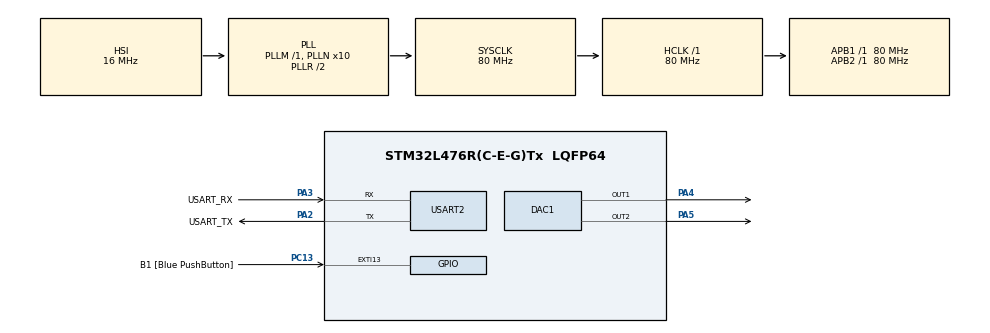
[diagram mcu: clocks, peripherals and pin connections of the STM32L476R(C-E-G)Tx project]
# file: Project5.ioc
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DAC1.DAC_Channel-DAC_OUT2=DAC_CHANNEL_2
DAC1.DAC_Trigger-DAC_OUT1=DAC_TRIGGER_T2_TRGO
DAC1.DAC_Trigger-DAC_OUT2=DAC_TRIGGER_T4_TRGO
Dma.DAC_CH1.0.Direction=DMA_MEMORY_TO_PERIPH
Dma.DAC_CH1.0.Instance=DMA1_Channel3
Dma.DAC_CH1.0.MemDataAlignment=DMA_MDATAALIGN_WORD
Dma.DAC_CH1.0.MemInc=DMA_MINC_ENABLE
Dma.DAC_CH1.0.Mode=DMA_CIRCULAR
Dma.DAC_CH1.0.PeriphDataAlignment=DMA_PDATAALIGN_WORD
Dma.DAC_CH1.0.PeriphInc=DMA_PINC_DISABLE
Dma.DAC_CH1.0.Priority=DMA_PRIORITY_LOW
Dma.DAC_CH2.2.Direction=DMA_MEMORY_TO_PERIPH
Dma.DAC_CH2.2.Instance=DMA1_Channel4
Dma.DAC_CH2.2.MemDataAlignment=DMA_MDATAALIGN_WORD
Dma.DAC_CH2.2.MemInc=DMA_MINC_ENABLE
Dma.DAC_CH2.2.Mode=DMA_CIRCULAR
Dma.DAC_CH2.2.PeriphDataAlignment=DMA_PDATAALIGN_WORD
Dma.DAC_CH2.2.PeriphInc=DMA_PINC_DISABLE
Dma.DAC_CH2.2.Priority=DMA_PRIORITY_LOW
Dma.Request0=DAC_CH1
Dma.Request1=USART2_RX
Dma.Request2=DAC_CH2
Dma.USART2_RX.1.Direction=DMA_PERIPH_TO_MEMORY
Dma.USART2_RX.1.Instance=DMA1_Channel6
Dma.USART2_RX.1.MemDataAlignment=DMA_MDATAALIGN_BYTE
Dma.USART2_RX.1.MemInc=DMA_MINC_ENABLE
Dma.USART2_RX.1.Mode=DMA_CIRCULAR
Dma.USART2_RX.1.PeriphDataAlignment=DMA_PDATAALIGN_BYTE
Dma.USART2_RX.1.PeriphInc=DMA_PINC_DISABLE
Dma.USART2_RX.1.Priority=DMA_PRIORITY_HIGH
FREERTOS.INCLUDE_vTaskDelayUntil=1
FREERTOS.Tasks01=defaultTask,0,128,StartDefaultTask,Default,NULL,Dynamic,NULL,NULL
FREERTOS.configTOTAL_HEAP_SIZE=50000
FREERTOS.configUSE_NEWLIB_REENTRANT=1
Mcu.Family=STM32L4
Mcu.Name=STM32L476R(C-E-G)Tx
Mcu.Package=LQFP64
NVIC.DMA1_Channel3_IRQn=true\:5\:0\:false\:false\:true\:true\:false\:true\:true
NVIC.DMA1_Channel4_IRQn=true\:5\:0\:false\:false\:true\:true\:false\:true\:true
NVIC.DMA1_Channel6_IRQn=true\:5\:0\:false\:false\:true\:true\:false\:true\:true
NVIC.PriorityGroup=NVIC_PRIORITYGROUP_4
NVIC.TIM1_UP_TIM16_IRQn=true\:15\:0\:false\:false\:true\:false\:false\:true\:true
NVIC.TIM2_IRQn=true\:5\:0\:false\:false\:true\:true\:true\:true\:true
NVIC.TIM4_IRQn=true\:5\:0\:false\:false\:true\:true\:true\:true\:true
NVIC.TimeBase=TIM1_UP_TIM16_IRQn
NVIC.TimeBaseIP=TIM1
NVIC.USART2_IRQn=true\:5\:0\:false\:false\:true\:true\:true\:true\:true
PA13\ (JTMS-SWDIO).GPIO_Label=TMS
PA13\ (JTMS-SWDIO).Mode=Serial_Wire
PA13\ (JTMS-SWDIO).Signal=SYS_JTMS-SWDIO
PA14\ (JTCK-SWCLK).GPIO_Label=TCK
PA14\ (JTCK-SWCLK).Mode=Serial_Wire
PA14\ (JTCK-SWCLK).Signal=SYS_JTCK-SWCLK
PA2.GPIO_Label=USART_TX
PA2.GPIO_Mode=GPIO_MODE_AF_PP
PA2.GPIO_PuPd=GPIO_NOPULL
PA2.GPIO_Speed=GPIO_SPEED_FREQ_VERY_HIGH
PA2.Mode=Asynchronous
PA2.Signal=USART2_TX
PA3.GPIO_Label=USART_RX
PA3.GPIO_Mode=GPIO_MODE_AF_PP
PA3.GPIO_PuPd=GPIO_NOPULL
PA3.GPIO_Speed=GPIO_SPEED_FREQ_VERY_HIGH
PA3.Mode=Asynchronous
PA3.Signal=USART2_RX
PA4.Signal=COMP_DAC11_group
PA5.Signal=COMP_DAC12_group
PB3\ (JTDO-TRACESWO).GPIO_Label=SWO
PB3\ (JTDO-TRACESWO).Signal=SYS_JTDO-SWO
PC13.GPIO_Label=B1 [Blue PushButton]
PC13.GPIO_ModeDefaultEXTI=GPIO_MODE_IT_FALLING
PC13.GPIO_PuPd=GPIO_NOPULL
PC13.Signal=GPXTI13
PC14-OSC32_IN\ (PC14).Mode=LSE-External-Oscillator
PC14-OSC32_IN\ (PC14).Signal=RCC_OSC32_IN
PC15-OSC32_OUT\ (PC15).Mode=LSE-External-Oscillator
PC15-OSC32_OUT\ (PC15).Signal=RCC_OSC32_OUT
PH0-OSC_IN\ (PH0).Signal=RCC_OSC_IN
PH1-OSC_OUT\ (PH1).Signal=RCC_OSC_OUT
ProjectManager.HeapSize=0x200
ProjectManager.StackSize=0x400
ProjectManager.TargetToolchain=STM32CubeIDE
RCC.ADCFreq_Value=64000000
RCC.AHBFreq_Value=80000000
RCC.APB1Freq_Value=80000000
RCC.APB1TimFreq_Value=80000000
RCC.APB2Freq_Value=80000000
RCC.APB2TimFreq_Value=80000000
RCC.CortexFreq_Value=80000000
RCC.HCLKFreq_Value=80000000
RCC.HSE_VALUE=8000000
RCC.HSI_VALUE=16000000
RCC.MSI_VALUE=4000000
RCC.PLLN=10
RCC.PLLSAI1Q=RCC_PLLQ_DIV4
RCC.PLLSourceVirtual=RCC_PLLSOURCE_HSI
RCC.PREFETCH_ENABLE=1
RCC.SYSCLKFreq_VALUE=80000000
RCC.SYSCLKSource=RCC_SYSCLKSOURCE_PLLCLK
RCC.USBFreq_Value=32000000
RCC.VCOOutputFreq_Value=160000000
SH.COMP_DAC11_group.0=DAC1_OUT1,DAC_OUT1
SH.COMP_DAC12_group.0=DAC1_OUT2,DAC_OUT2
TIM2.AutoReloadPreload=TIM_AUTORELOAD_PRELOAD_ENABLE
TIM2.Period=1000-1
TIM2.Prescaler=10-1
TIM2.TIM_MasterOutputTrigger=TIM_TRGO_UPDATE
TIM4.AutoReloadPreload=TIM_AUTORELOAD_PRELOAD_ENABLE
TIM4.Period=1000-1
TIM4.Prescaler=10-1
TIM4.TIM_MasterOutputTrigger=TIM_TRGO_UPDATE
USART2.VirtualMode-Asynchronous=VM_ASYNC
VP_FREERTOS_VS_CMSIS_V1.Mode=CMSIS_V1
VP_RNG_VS_RNG.Mode=RNG_Activate
VP_SYS_VS_tim1.Mode=TIM1
VP_TIM2_VS_ClockSourceINT.Mode=Internal
VP_TIM4_VS_ClockSourceINT.Mode=Internal
board=NUCLEO-L476RG

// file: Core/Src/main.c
/* USER CODE BEGIN Header */
/**
  ******************************************************************************
  * @file           : main.c
  * @brief          : Main program body
  ******************************************************************************
  * @attention
  *
  * Copyright (c) 2022 STMicroelectronics.
  * All rights reserved.
  *
  * This software is licensed under terms that can be found in the LICENSE file
  * in the root directory of this software component.
  * If no LICENSE file comes with this software, it is provided AS-IS.
  *
  ******************************************************************************
  */
/* USER CODE END Header */
#include "main.h"
//#include "cmsis_os.h"

/* USER CODE BEGIN Includes */
#include <stdio.h>
#include <stdlib.h>
#include "FreeRTOS.h"
#include "task.h"
#include "timers.h"
#include "queue.h"
#include "semphr.h"
#include "event_groups.h"
#include "string.h"
#include "math.h"

#include "signal.h"
#include "uart.h"

/* USER CODE END Includes */

DAC_HandleTypeDef hdac1;
DMA_HandleTypeDef hdma_dac_ch1;
DMA_HandleTypeDef hdma_dac_ch2;

RNG_HandleTypeDef hrng;

TIM_HandleTypeDef htim2;
TIM_HandleTypeDef htim4;

UART_HandleTypeDef huart2;
DMA_HandleTypeDef hdma_usart2_rx;
/* USER CODE BEGIN PV */
TaskHandle_t mngr;
TaskHandle_t rdr;

QueueHandle_t msgQ;

extern uint32_t sig1_ROM[];
extern uint32_t sig2_ROM[];
extern _Bool cmd_flg;
int in_flg = 0;
/* USER CODE END PV */

void SystemClock_Config(void);
static void MX_GPIO_Init(void);
static void MX_DMA_Init(void);
static void MX_USART2_UART_Init(void);
static void MX_DAC1_Init(void);
static void MX_TIM2_Init(void);
static void MX_TIM4_Init(void);
static void MX_RNG_Init(void);

/* USER CODE BEGIN PFP */
void mng_Task(void * pvParameters);
void read_Task(void * pvParameters);
/* USER CODE END PFP */

int main(void)
{

  /* MCU Configuration--------------------------------------------------------*/

  /* Reset of all peripherals, Initializes the Flash interface and the Systick. */
  HAL_Init();

  /* Configure the system clock */
  SystemClock_Config();

  /* Initialize all configured peripherals */
  MX_GPIO_Init();
  MX_DMA_Init();
  MX_USART2_UART_Init();
  MX_DAC1_Init();
  MX_TIM2_Init();
  MX_TIM4_Init();
  MX_RNG_Init();

  /* USER CODE BEGIN RTOS_QUEUES */
  msgQ = xQueueCreate(1, sizeof(sig_t));
  if(msgQ == 0)
    {
  	  printf("Unable to create msg queue\n\r");
  	  exit(1);
    }
  /* USER CODE END RTOS_QUEUES */

  /* USER CODE BEGIN RTOS_THREADS */
  xTaskCreate(mng_Task, "mngr", 1024, NULL, PriorityHigh, &mngr);
  /* USER CODE END RTOS_THREADS */

  /* We should never get here as control is now taken by the scheduler */
  /* Infinite loop */
  /* USER CODE BEGIN WHILE */

  vTaskStartScheduler();
  while (1)
  {
    /* USER CODE END WHILE */

  }
}

void SystemClock_Config(void)
{
  RCC_OscInitTypeDef RCC_OscInitStruct = {0};
  RCC_ClkInitTypeDef RCC_ClkInitStruct = {0};

  /** Configure the main internal regulator output voltage
  */
  if (HAL_PWREx_ControlVoltageScaling(PWR_REGULATOR_VOLTAGE_SCALE1) != HAL_OK)
  {
    Error_Handler();
  }

  /** Initializes the RCC Oscillators according to the specified parameters
  * in the RCC_OscInitTypeDef structure.
  */
  RCC_OscInitStruct.OscillatorType = RCC_OSCILLATORTYPE_HSI;
  RCC_OscInitStruct.HSIState = RCC_HSI_ON;
  RCC_OscInitStruct.HSICalibrationValue = RCC_HSICALIBRATION_DEFAULT;
  RCC_OscInitStruct.PLL.PLLState = RCC_PLL_ON;
  RCC_OscInitStruct.PLL.PLLSource = RCC_PLLSOURCE_HSI;
  RCC_OscInitStruct.PLL.PLLM = 1;
  RCC_OscInitStruct.PLL.PLLN = 10;
  RCC_OscInitStruct.PLL.PLLP = RCC_PLLP_DIV7;
  RCC_OscInitStruct.PLL.PLLQ = RCC_PLLQ_DIV2;
  RCC_OscInitStruct.PLL.PLLR = RCC_PLLR_DIV2;
  if (HAL_RCC_OscConfig(&RCC_OscInitStruct) != HAL_OK)
  {
    Error_Handler();
  }

  /** Initializes the CPU, AHB and APB buses clocks
  */
  RCC_ClkInitStruct.ClockType = RCC_CLOCKTYPE_HCLK|RCC_CLOCKTYPE_SYSCLK
                              |RCC_CLOCKTYPE_PCLK1|RCC_CLOCKTYPE_PCLK2;
  RCC_ClkInitStruct.SYSCLKSource = RCC_SYSCLKSOURCE_PLLCLK;
  RCC_ClkInitStruct.AHBCLKDivider = RCC_SYSCLK_DIV1;
  RCC_ClkInitStruct.APB1CLKDivider = RCC_HCLK_DIV1;
  RCC_ClkInitStruct.APB2CLKDivider = RCC_HCLK_DIV1;

  if (HAL_RCC_ClockConfig(&RCC_ClkInitStruct, FLASH_LATENCY_4) != HAL_OK)
  {
    Error_Handler();
  }
}

static void MX_DAC1_Init(void)
{

  DAC_ChannelConfTypeDef sConfig = {0};

  /** DAC Initialization
  */
  hdac1.Instance = DAC1;
  if (HAL_DAC_Init(&hdac1) != HAL_OK)
  {
    Error_Handler();
  }

  /** DAC channel OUT1 config
  */
  sConfig.DAC_SampleAndHold = DAC_SAMPLEANDHOLD_DISABLE;
  sConfig.DAC_Trigger = DAC_TRIGGER_T2_TRGO;
  sConfig.DAC_OutputBuffer = DAC_OUTPUTBUFFER_ENABLE;
  sConfig.DAC_ConnectOnChipPeripheral = DAC_CHIPCONNECT_DISABLE;
  sConfig.DAC_UserTrimming = DAC_TRIMMING_FACTORY;
  if (HAL_DAC_ConfigChannel(&hdac1, &sConfig, DAC_CHANNEL_1) != HAL_OK)
  {
    Error_Handler();
  }

  /** DAC channel OUT2 config
  */
  sConfig.DAC_Trigger = DAC_TRIGGER_T4_TRGO;
  if (HAL_DAC_ConfigChannel(&hdac1, &sConfig, DAC_CHANNEL_2) != HAL_OK)
  {
    Error_Handler();
  }

}

static void MX_RNG_Init(void)
{

  hrng.Instance = RNG;
  if (HAL_RNG_Init(&hrng) != HAL_OK)
  {
    Error_Handler();
  }

}

static void MX_TIM2_Init(void)
{

  TIM_ClockConfigTypeDef sClockSourceConfig = {0};
  TIM_MasterConfigTypeDef sMasterConfig = {0};

  htim2.Instance = TIM2;
  htim2.Init.Prescaler = 10-1;
  htim2.Init.CounterMode = TIM_COUNTERMODE_UP;
  htim2.Init.Period = 1000-1;
  htim2.Init.ClockDivision = TIM_CLOCKDIVISION_DIV1;
  htim2.Init.AutoReloadPreload = TIM_AUTORELOAD_PRELOAD_ENABLE;
  if (HAL_TIM_Base_Init(&htim2) != HAL_OK)
  {
    Error_Handler();
  }
  sClockSourceConfig.ClockSource = TIM_CLOCKSOURCE_INTERNAL;
  if (HAL_TIM_ConfigClockSource(&htim2, &sClockSourceConfig) != HAL_OK)
  {
    Error_Handler();
  }
  sMasterConfig.MasterOutputTrigger = TIM_TRGO_UPDATE;
  sMasterConfig.MasterSlaveMode = TIM_MASTERSLAVEMODE_DISABLE;
  if (HAL_TIMEx_MasterConfigSynchronization(&htim2, &sMasterConfig) != HAL_OK)
  {
    Error_Handler();
  }

}

static void MX_TIM4_Init(void)
{

  TIM_ClockConfigTypeDef sClockSourceConfig = {0};
  TIM_MasterConfigTypeDef sMasterConfig = {0};

  htim4.Instance = TIM4;
  htim4.Init.Prescaler = 10-1;
  htim4.Init.CounterMode = TIM_COUNTERMODE_UP;
  htim4.Init.Period = 1000-1;
  htim4.Init.ClockDivision = TIM_CLOCKDIVISION_DIV1;
  htim4.Init.AutoReloadPreload = TIM_AUTORELOAD_PRELOAD_ENABLE;
  if (HAL_TIM_Base_Init(&htim4) != HAL_OK)
  {
    Error_Handler();
  }
  sClockSourceConfig.ClockSource = TIM_CLOCKSOURCE_INTERNAL;
  if (HAL_TIM_ConfigClockSource(&htim4, &sClockSourceConfig) != HAL_OK)
  {
    Error_Handler();
  }
  sMasterConfig.MasterOutputTrigger = TIM_TRGO_UPDATE;
  sMasterConfig.MasterSlaveMode = TIM_MASTERSLAVEMODE_DISABLE;
  if (HAL_TIMEx_MasterConfigSynchronization(&htim4, &sMasterConfig) != HAL_OK)
  {
    Error_Handler();
  }

}

static void MX_USART2_UART_Init(void)
{

  huart2.Instance = USART2;
  huart2.Init.BaudRate = 115200;
  huart2.Init.WordLength = UART_WORDLENGTH_8B;
  huart2.Init.StopBits = UART_STOPBITS_1;
  huart2.Init.Parity = UART_PARITY_NONE;
  huart2.Init.Mode = UART_MODE_TX_RX;
  huart2.Init.HwFlowCtl = UART_HWCONTROL_NONE;
  huart2.Init.OverSampling = UART_OVERSAMPLING_16;
  huart2.Init.OneBitSampling = UART_ONE_BIT_SAMPLE_DISABLE;
  huart2.AdvancedInit.AdvFeatureInit = UART_ADVFEATURE_NO_INIT;
  if (HAL_UART_Init(&huart2) != HAL_OK)
  {
    Error_Handler();
  }

}

static void MX_DMA_Init(void)
{

  /* DMA controller clock enable */
  __HAL_RCC_DMA1_CLK_ENABLE();

  /* DMA interrupt init */
  /* DMA1_Channel3_IRQn interrupt configuration */
  HAL_NVIC_SetPriority(DMA1_Channel3_IRQn, 5, 0);
  HAL_NVIC_EnableIRQ(DMA1_Channel3_IRQn);
  /* DMA1_Channel4_IRQn interrupt configuration */
  HAL_NVIC_SetPriority(DMA1_Channel4_IRQn, 5, 0);
  HAL_NVIC_EnableIRQ(DMA1_Channel4_IRQn);
  /* DMA1_Channel6_IRQn interrupt configuration */
  HAL_NVIC_SetPriority(DMA1_Channel6_IRQn, 5, 0);
  HAL_NVIC_EnableIRQ(DMA1_Channel6_IRQn);

}

static void MX_GPIO_Init(void)
{
  GPIO_InitTypeDef GPIO_InitStruct = {0};

  /* GPIO Ports Clock Enable */
  __HAL_RCC_GPIOC_CLK_ENABLE();
  __HAL_RCC_GPIOH_CLK_ENABLE();
  __HAL_RCC_GPIOA_CLK_ENABLE();
  __HAL_RCC_GPIOB_CLK_ENABLE();

  /*Configure GPIO pin : B1_Pin */
  GPIO_InitStruct.Pin = B1_Pin;
  GPIO_InitStruct.Mode = GPIO_MODE_IT_FALLING;
  GPIO_InitStruct.Pull = GPIO_NOPULL;
  HAL_GPIO_Init(B1_GPIO_Port, &GPIO_InitStruct);

}

/* USER CODE BEGIN 4 */
void mng_Task(void * pvParameters)
{
	TickType_t Period = pdMS_TO_TICKS(20);
	TickType_t lastWake = 0;
	sig_t sigReq;

	sig_t signal_1;
	sig_t signal_2;

	/*mkSig(&signal_1);
	mkSig(&signal_2);*/

	HAL_TIM_Base_Start(&htim2);
	HAL_TIM_Base_Start(&htim4);

	HAL_DAC_Start_DMA(&hdac1, DAC_CHANNEL_1, sig1_ROM, Fs, DAC_ALIGN_12B_R);
	HAL_DAC_Start_DMA(&hdac1, DAC_CHANNEL_2, sig2_ROM, Fs, DAC_ALIGN_12B_R);

	xTaskCreate(read_Task, "Reader", 512, NULL, PriorityAboveNormal, &rdr);

	while(1)
	{
		if(cmd_flg)
		{
			cmd_flg = 0;
			if(xQueueReceive(msgQ, &sigReq, Period) != pdTRUE)
			{
				printf("Could not retrieve signal request from queue\n\r");
			}

			if(sigReq.channel)
			{
				signal_2 = sigReq;
				signal_2.ROM = sig2_ROM;
				HAL_DAC_Stop_DMA(&hdac1, DAC_CHANNEL_2);
				mkSig(&signal_2);
				HAL_DAC_Start_DMA(&hdac1, DAC_CHANNEL_2, sig2_ROM, Fs, DAC_ALIGN_12B_R);
			}
			else
			{
				signal_1 = sigReq;
				signal_1.ROM = sig1_ROM;
				HAL_DAC_Stop_DMA(&hdac1, DAC_CHANNEL_1);
				mkSig(&signal_1);
				HAL_DAC_Start_DMA(&hdac1, DAC_CHANNEL_1, sig1_ROM, Fs, DAC_ALIGN_12B_R);
			}

		}

		lastWake = xTaskGetTickCount();
		vTaskDelayUntil(&lastWake, Period);

	}
}

/* USER CODE END 4 */
void HAL_TIM_PeriodElapsedCallback(TIM_HandleTypeDef *htim)
{
  if (htim->Instance == TIM1) {
    HAL_IncTick();
  }
  /* USER CODE BEGIN Callback 1 */
  /*if(htim->Instance == TIM2)
  {
	  in_flg += 1;
	  TIM2->ARR -= 5;
  }*/
  /* USER CODE END Callback 1 */
}

void Error_Handler(void)
{
  __disable_irq();
  while (1)
  {
  }
}
